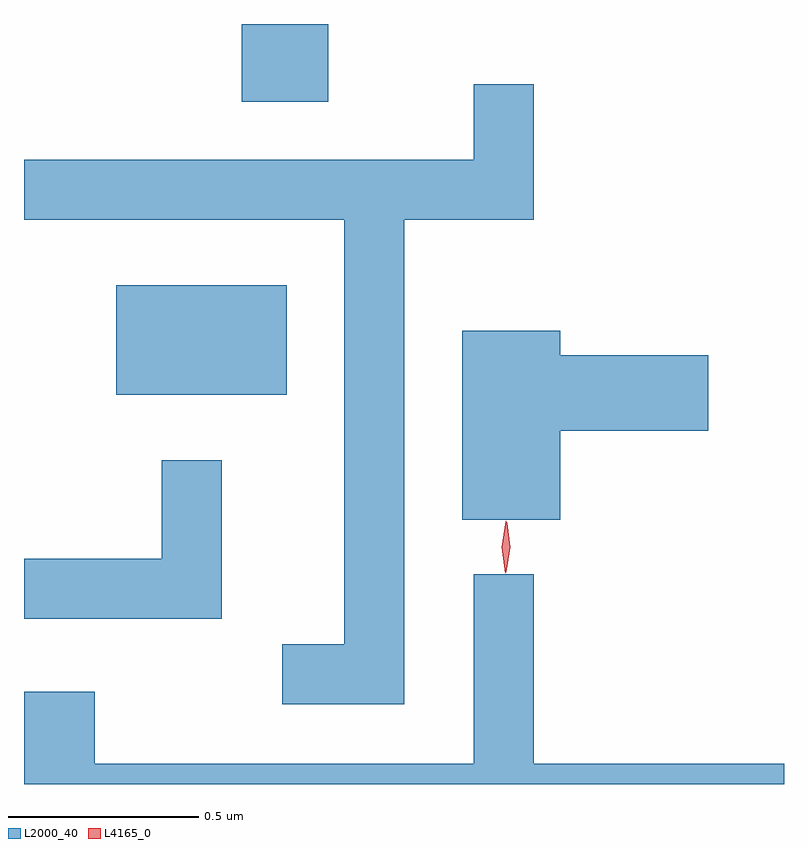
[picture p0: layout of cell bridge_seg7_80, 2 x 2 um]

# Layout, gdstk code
import gdstk
lib = gdstk.Library(unit=1e-6, precision=1e-09)
def R(c, l, rs):  # rectangles x0, y0, x1, y1
    for r in rs: c.add(gdstk.rectangle(r[:2], r[2:], *l))
def P(c, l, *ps):  # polygons
    for p in ps: c.add(gdstk.Polygon(p, *l))
L2000_40 = (2000, 40)
L4165_0 = (4165, 0)

bridge_seg7_80 = lib.new_cell('bridge_seg7_80')
R(bridge_seg7_80, L2000_40, [(1548.926,1751.076,1549.374,1751.364), (1549.256,1751.846,1549.484,1752.051)])
P(bridge_seg7_80, L2000_40, [(1549.684,1751.536),(1550.024,1751.536),(1550.024,1751.893),(1549.866,1751.893),(1549.866,1751.694),(1548.683,1751.694),(1548.683,1751.536),(1549.526,1751.536),(1549.526,1750.419),(1549.363,1750.419),(1549.363,1750.261),(1549.684,1750.261)],
  [(1550.094,1750.981),(1550.484,1750.981),(1550.484,1751.179),(1550.094,1751.179),(1550.094,1751.244),(1549.836,1751.244),(1549.836,1750.746),(1550.094,1750.746)],
  [(1549.204,1750.903),(1549.046,1750.903),(1549.046,1750.644),(1548.683,1750.644),(1548.683,1750.486),(1549.204,1750.486)],
  [(1550.683,1750.104),(1550.024,1750.104),(1550.024,1750.603),(1549.866,1750.603),(1549.866,1750.104),(1548.869,1750.104),(1548.869,1750.294),(1548.683,1750.294),(1548.683,1750.051),(1550.683,1750.051)])
P(bridge_seg7_80, L4165_0, [(1549.949,1750.605),(1549.949,1750.605),(1549.94,1750.674),(1549.951,1750.742),(1549.952,1750.742),(1549.952,1750.742),(1549.96,1750.673),(1549.95,1750.605)],
  [(1549.951,1750.608),(1549.943,1750.674),(1549.954,1750.739),(1549.954,1750.74),(1549.955,1750.739),(1549.963,1750.674),(1549.952,1750.608),(1549.952,1750.608)])

lib.write_gds('bridge_seg7_80.gds')
